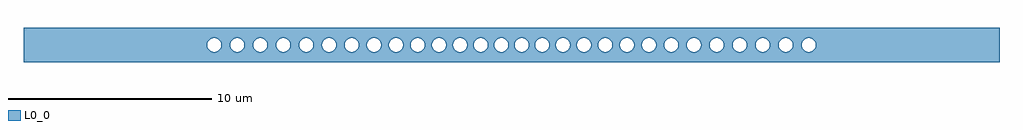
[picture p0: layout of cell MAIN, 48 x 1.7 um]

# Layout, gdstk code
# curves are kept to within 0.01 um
import gdstk
lib = gdstk.Library(unit=1e-6, precision=1e-09)
def P(c, l, *ps):  # polygons
    for p in ps: c.add(gdstk.Polygon(p, *l))
L0_0 = (0, 0)

main = lib.new_cell('MAIN')
P(main, L0_0, [(-14.658,-0.351),(-14.784,-0.313),(-14.883,-0.235),(-14.883,-0.85),(-14.658,-0.85)],
  [(-14.647,0.352),(-14.521,0.34),(-14.416,0.29),(-14.321,0.191),(-14.272,0.068),(-14.272,0.85),(-14.658,0.85),(-14.658,0.351)],
  [(-14.272,-0.068),(-14.321,-0.191),(-14.416,-0.29),(-14.536,-0.344),(-14.658,-0.351),(-14.658,-0.85),(-14.272,-0.85)],
  [(-14.266,-0.011),(-14.272,-0.85),(-13.598,-0.85),(-13.598,-0.336),(-13.688,-0.291),(-13.765,-0.219),(-13.819,-0.122),(-13.84,-0.024),(-13.83,0.087),(-13.777,0.202),(-13.705,0.279),(-13.598,0.336),(-13.598,0.85),(-14.272,0.85)],
  [(-13.587,0.339),(-13.462,0.353),(-13.334,0.319),(-13.235,0.249),(-13.162,0.139),(-13.162,0.85),(-13.598,0.85),(-13.598,0.336)],
  [(-13.162,-0.139),(-13.235,-0.249),(-13.334,-0.319),(-13.462,-0.353),(-13.598,-0.336),(-13.598,-0.85),(-13.162,-0.85)],
  [(-13.133,-0.011),(-13.162,-0.139),(-13.162,-0.85),(-12.533,-0.85),(-12.533,-0.305),(-12.651,-0.193),(-12.692,-0.107),(-12.708,-0.019),(-12.699,0.081),(-12.667,0.166),(-12.608,0.247),(-12.533,0.305),(-12.533,0.85),(-13.162,0.85),(-13.162,0.139)],
  [(-12.524,0.31),(-12.414,0.349),(-12.272,0.344),(-12.16,0.296),(-12.066,0.204),(-12.066,0.85),(-12.533,0.85)],
  [(-12.066,-0.204),(-12.16,-0.296),(-12.272,-0.344),(-12.414,-0.349),(-12.533,-0.305),(-12.533,-0.85),(-12.066,-0.85)],
  [(-12.001,-0.011),(-12.02,-0.115),(-12.066,-0.204),(-12.066,-0.85),(-11.46,-0.85),(-11.46,-0.261),(-11.544,-0.147),(-11.576,-0.013),(-11.544,0.147),(-11.46,0.261),(-11.46,0.85),(-12.066,0.85),(-12.066,0.204),(-12.018,0.109)],
  [(-11.452,0.268),(-11.353,0.329),(-11.218,0.354),(-11.089,0.328),(-10.982,0.26),(-10.982,0.85),(-11.46,0.85)],
  [(-10.982,-0.26),(-11.089,-0.328),(-11.218,-0.354),(-11.353,-0.329),(-11.46,-0.261),(-11.46,-0.85),(-10.982,-0.85)],
  [(-10.869,-0.011),(-10.899,-0.144),(-10.982,-0.26),(-10.982,-0.85),(-10.38,-0.85),(-10.38,-0.206),(-10.423,-0.127),(-10.446,-0.019),(-10.433,0.097),(-10.38,0.206),(-10.38,0.85),(-10.982,0.85),(-10.982,0.26),(-10.891,0.125)],
  [(-10.377,0.21),(-10.28,0.3),(-10.168,0.346),(-10.046,0.351),(-9.912,0.304),(-9.912,0.85),(-10.38,0.85)],
  [(-9.912,-0.304),(-10.046,-0.351),(-10.168,-0.346),(-10.28,-0.3),(-10.38,-0.206),(-10.38,-0.85),(-9.912,-0.85)],
  [(-9.739,-0.011),(-9.75,-0.089),(-9.789,-0.182),(-9.841,-0.249),(-9.912,-0.304),(-9.912,-0.85),(-9.294,-0.85),(-9.294,-0.142),(-9.324,-0.008),(-9.294,0.142),(-9.294,0.85),(-9.912,0.85),(-9.912,0.304),(-9.837,0.245),(-9.781,0.168),(-9.75,0.089)],
  [(-9.292,0.147),(-9.212,0.258),(-9.106,0.327),(-8.971,0.354),(-8.862,0.337),(-8.862,0.85),(-9.294,0.85)],
  [(-8.862,-0.337),(-8.971,-0.354),(-9.106,-0.327),(-9.212,-0.258),(-9.294,-0.142),(-9.294,-0.85),(-8.862,-0.85)],
  [(24,0.85),(14.881,0.85),(14.881,0.237),(14.95,0.125),(14.973,0.011),(14.954,-0.115),(14.881,-0.237),(14.881,-0.85),(24,-0.85)],
  [(-8.204,0.076),(-8.161,0.184),(-8.064,0.288),(-7.934,0.346),(-7.823,0.352),(-7.823,0.85),(-8.205,0.85)],
  [(-7.823,-0.352),(-7.934,-0.346),(-8.064,-0.288),(-8.161,-0.184),(-8.205,-0.071),(-8.205,-0.85),(-7.823,-0.85)],
  [(-8.212,0.003),(-8.205,0.85),(-8.862,0.85),(-8.862,0.337),(-8.767,0.29),(-8.678,0.2),(-8.632,0.104),(-8.617,0)],
  [(-7.114,0.003),(-7.093,0.122),(-7.018,0.243),(-6.916,0.318),(-6.799,0.351),(-6.799,0.85),(-7.505,0.85),(-7.505,-0.003)],
  [(-6.799,-0.351),(-6.916,-0.318),(-7.018,-0.243),(-7.083,-0.147),(-7.114,-0.003),(-7.505,-0.003),(-7.505,-0.85),(-6.799,-0.85)],
  [(-6.789,0.352),(-6.663,0.34),(-6.558,0.29),(-6.463,0.191),(-6.414,0.068),(-6.414,0.85),(-6.799,0.85),(-6.799,0.351)],
  [(-6.414,-0.068),(-6.463,-0.191),(-6.562,-0.293),(-6.678,-0.344),(-6.799,-0.351),(-6.799,-0.85),(-6.414,-0.85)],
  [(-6.407,-0.011),(-6.414,-0.85),(-5.789,-0.85),(-5.789,-0.336),(-5.884,-0.288),(-5.96,-0.215),(-6.009,-0.127),(-6.032,-0.019),(-6.019,0.097),(-5.969,0.202),(-5.884,0.288),(-5.789,0.336),(-5.789,0.85),(-6.414,0.85)],
  [(-5.779,0.339),(-5.653,0.353),(-5.521,0.317),(-5.427,0.249),(-5.354,0.139),(-5.354,0.85),(-5.789,0.85),(-5.789,0.336)],
  [(-5.354,-0.139),(-5.427,-0.249),(-5.545,-0.328),(-5.675,-0.354),(-5.789,-0.336),(-5.789,-0.85),(-5.354,-0.85)],
  [(-5.325,-0.011),(-5.354,-0.139),(-5.354,-0.85),(-4.791,-0.85),(-4.791,-0.305),(-4.855,-0.258),(-4.915,-0.184),(-4.966,-0.024),(-4.956,0.087),(-4.928,0.161),(-4.87,0.243),(-4.791,0.305),(-4.791,0.85),(-5.354,0.85),(-5.354,0.139)],
  [(-4.782,0.31),(-4.672,0.349),(-4.53,0.344),(-4.414,0.293),(-4.327,0.208),(-4.327,0.85),(-4.791,0.85)],
  [(-4.327,-0.208),(-4.414,-0.293),(-4.53,-0.344),(-4.672,-0.349),(-4.791,-0.305),(-4.791,-0.85),(-4.327,-0.85)],
  [(-7.505,0.85),(-7.823,0.85),(-7.823,0.352),(-7.701,0.317),(-7.596,0.237),(-7.524,0.115),(-7.505,0)],
  [(-3.798,0.265),(-3.694,0.329),(-3.56,0.354),(-3.43,0.328),(-3.328,0.263),(-3.328,0.85),(-3.802,0.85)],
  [(-3.328,-0.263),(-3.43,-0.328),(-3.565,-0.354),(-3.694,-0.329),(-3.802,-0.261),(-3.802,-0.85),(-3.328,-0.85)],
  [(-3.917,0.003),(-3.888,0.142),(-3.802,0.261),(-3.802,0.85),(-4.327,0.85),(-4.327,0.208),(-4.278,0.115),(-4.259,0)],
  [(-2.814,0.21),(-2.713,0.303),(-2.605,0.346),(-2.484,0.351),(-2.354,0.307),(-2.354,0.85),(-2.817,0.85)],
  [(-2.354,-0.307),(-2.484,-0.351),(-2.605,-0.346),(-2.713,-0.303),(-2.817,-0.206),(-2.817,-0.85),(-2.354,-0.85)],
  [(-2.883,0.003),(-2.864,0.117),(-2.817,0.206),(-2.817,0.85),(-3.328,0.85),(-3.328,0.263),(-3.245,0.154),(-3.21,0)],
  [(-1.832,0.147),(-1.752,0.258),(-1.646,0.327),(-1.511,0.354),(-1.402,0.337),(-1.402,0.85),(-1.834,0.85)],
  [(-1.402,-0.337),(-1.511,-0.354),(-1.646,-0.327),(-1.752,-0.258),(-1.834,-0.142),(-1.834,-0.85),(-1.402,-0.85)],
  [(-1.863,0.003),(-1.834,0.142),(-1.834,0.85),(-2.354,0.85),(-2.354,0.307),(-2.271,0.241),(-2.221,0.173),(-2.185,0.079),(-2.176,0)],
  [(-0.846,0.076),(-0.803,0.184),(-0.719,0.279),(-0.602,0.339),(-0.465,0.352),(-0.465,0.85),(-0.847,0.85)],
  [(-0.465,-0.352),(-0.602,-0.339),(-0.719,-0.279),(-0.803,-0.184),(-0.847,-0.071),(-0.847,-0.85),(-0.465,-0.85)],
  [(-0.854,0.003),(-0.847,0.85),(-1.402,0.85),(-1.402,0.337),(-1.311,0.293),(-1.227,0.213),(-1.175,0.115),(-1.156,0)],
  [(0.147,0.003),(0.167,0.117),(0.24,0.239),(0.346,0.318),(0.463,0.351),(0.463,0.85),(-0.147,0.85),(-0.147,-0.003)],
  [(0.463,-0.351),(0.346,-0.318),(0.24,-0.239),(0.167,-0.117),(0.147,-0.003),(-0.147,-0.003),(-0.147,-0.85),(0.463,-0.85)],
  [(0.473,0.352),(0.599,0.34),(0.704,0.29),(0.799,0.191),(0.847,0.074),(0.847,0.85),(0.463,0.85),(0.463,0.351)],
  [(0.847,-0.074),(0.799,-0.191),(0.704,-0.29),(0.584,-0.344),(0.463,-0.351),(0.463,-0.85),(0.847,-0.85)],
  [(-0.147,0.85),(-0.465,0.85),(-0.465,0.352),(-0.348,0.319),(-0.242,0.241),(-0.166,0.115),(-0.147,0)],
  [(1.409,0.339),(1.535,0.353),(1.667,0.317),(1.769,0.241),(1.833,0.144),(1.833,0.85),(1.399,0.85),(1.399,0.336)],
  [(1.833,-0.144),(1.75,-0.26),(1.643,-0.328),(1.514,-0.354),(1.399,-0.336),(1.399,-0.85),(1.833,-0.85)],
  [(1.156,0.003),(1.176,0.117),(1.229,0.215),(1.296,0.282),(1.399,0.336),(1.399,0.85),(0.847,0.85),(0.854,0)],
  [(2.361,0.31),(2.471,0.349),(2.613,0.344),(2.733,0.29),(2.816,0.208),(2.816,0.85),(2.352,0.85)],
  [(2.816,-0.208),(2.733,-0.29),(2.613,-0.344),(2.471,-0.349),(2.352,-0.305),(2.352,-0.85),(2.816,-0.85)],
  [(2.176,0.003),(2.188,0.092),(2.225,0.179),(2.288,0.258),(2.352,0.305),(2.352,0.85),(1.833,0.85),(1.833,0.144),(1.863,0)],
  [(3.33,0.265),(3.433,0.329),(3.568,0.354),(3.697,0.328),(3.8,0.263),(3.8,0.85),(3.326,0.85)],
  [(3.8,-0.263),(3.697,-0.328),(3.562,-0.354),(3.433,-0.329),(3.326,-0.261),(3.326,-0.85),(3.8,-0.85)],
  [(3.21,0.003),(3.246,0.156),(3.326,0.261),(3.326,0.85),(2.816,0.85),(2.816,0.208),(2.863,0.12),(2.883,0)],
  [(4.329,0.21),(4.43,0.303),(4.538,0.346),(4.659,0.351),(4.789,0.307),(4.789,0.85),(4.326,0.85)],
  [(4.789,-0.307),(4.659,-0.351),(4.538,-0.346),(4.43,-0.303),(4.326,-0.206),(4.326,-0.85),(4.789,-0.85)],
  [(4.966,-0.011),(4.951,-0.104),(4.911,-0.191),(4.853,-0.26),(4.789,-0.307),(4.789,-0.85),(5.353,-0.85),(5.353,-0.137),(5.325,-0.013),(5.353,0.137),(5.353,0.85),(4.789,0.85),(4.789,0.307),(4.853,0.26),(4.919,0.177),(4.958,0.079)],
  [(5.355,0.142),(5.425,0.247),(5.543,0.327),(5.677,0.354),(5.787,0.337),(5.787,0.85),(5.353,0.85)],
  [(5.787,-0.337),(5.677,-0.354),(5.543,-0.327),(5.425,-0.247),(5.353,-0.137),(5.353,-0.85),(5.787,-0.85)],
  [(6.032,-0.011),(6.008,-0.129),(5.955,-0.221),(5.873,-0.296),(5.787,-0.337),(5.787,-0.85),(6.413,-0.85),(6.413,0.85),(5.787,0.85),(5.787,0.337),(5.873,0.296),(5.961,0.213),(6.015,0.109)],
  [(6.415,0.071),(6.459,0.184),(6.547,0.282),(6.67,0.342),(6.797,0.352),(6.797,0.85),(6.413,0.85)],
  [(6.797,-0.352),(6.67,-0.342),(6.547,-0.282),(6.459,-0.184),(6.413,-0.066),(6.413,-0.85),(6.797,-0.85)],
  [(7.114,0.85),(6.797,0.85),(6.797,0.352),(6.918,0.317),(7.02,0.241),(7.094,0.12),(7.114,0.003)],
  [(7.114,-0.003),(7.094,-0.12),(7.02,-0.241),(6.918,-0.317),(6.797,-0.352),(6.797,-0.85),(7.114,-0.85)],
  [(7.505,0.003),(7.537,0.147),(7.605,0.247),(7.708,0.32),(7.82,0.351),(7.82,0.85),(7.114,0.85),(7.114,-0.003)],
  [(7.82,-0.351),(7.708,-0.32),(7.605,-0.247),(7.537,-0.147),(7.505,-0.003),(7.114,-0.003),(7.114,-0.85),(7.82,-0.85)],
  [(7.831,0.352),(7.967,0.337),(8.083,0.274),(8.162,0.182),(8.204,0.074),(8.204,0.85),(7.82,0.85),(7.82,0.351)],
  [(8.204,-0.074),(8.15,-0.2),(8.053,-0.296),(7.941,-0.344),(7.82,-0.351),(7.82,-0.85),(8.204,-0.85)],
  [(4.259,0.003),(4.274,0.102),(4.326,0.206),(4.326,0.85),(3.8,0.85),(3.8,0.263),(3.889,0.139),(3.917,0)],
  [(8.869,0.339),(8.995,0.353),(9.123,0.319),(9.222,0.249),(9.293,0.144),(9.293,0.85),(8.859,0.85),(8.859,0.336)],
  [(9.293,-0.144),(9.222,-0.249),(9.103,-0.328),(8.974,-0.354),(8.859,-0.336),(8.859,-0.85),(9.293,-0.85)],
  [(8.617,0.003),(8.638,0.122),(8.689,0.215),(8.752,0.279),(8.859,0.336),(8.859,0.85),(8.204,0.85),(8.212,0)],
  [(9.924,0.31),(10.033,0.349),(10.175,0.344),(10.287,0.296),(10.378,0.208),(10.378,0.85),(9.914,0.85),(9.914,0.305)],
  [(10.378,-0.208),(10.287,-0.296),(10.175,-0.344),(10.033,-0.349),(9.914,-0.305),(9.914,-0.85),(10.378,-0.85)],
  [(10.446,-0.011),(10.427,-0.115),(10.378,-0.208),(10.378,-0.85),(10.98,-0.85),(10.98,-0.258),(10.898,-0.142),(10.869,-0.019),(10.898,0.142),(10.98,0.258),(10.98,0.85),(10.378,0.85),(10.378,0.208),(10.429,0.109)],
  [(10.984,0.261),(11.092,0.329),(11.221,0.354),(11.355,0.328),(11.458,0.263),(11.458,0.85),(10.98,0.85)],
  [(11.458,-0.263),(11.355,-0.328),(11.221,-0.354),(11.092,-0.329),(10.98,-0.258),(10.98,-0.85),(11.458,-0.85)],
  [(11.576,-0.011),(11.541,-0.154),(11.458,-0.263),(11.458,-0.85),(12.064,-0.85),(12.064,-0.202),(12.019,-0.112),(12.001,-0.019),(12.013,0.092),(12.064,0.202),(12.064,0.85),(11.458,0.85),(11.458,0.263),(11.541,0.154)],
  [(12.067,0.206),(12.167,0.3),(12.28,0.346),(12.401,0.351),(12.531,0.307),(12.531,0.85),(12.064,0.85)],
  [(12.531,-0.307),(12.401,-0.351),(12.28,-0.346),(12.167,-0.3),(12.064,-0.202),(12.064,-0.85),(12.531,-0.85)],
  [(12.708,-0.011),(12.697,-0.089),(12.661,-0.177),(12.61,-0.245),(12.531,-0.307),(12.531,-0.85),(13.161,-0.85),(13.161,-0.137),(13.133,-0.008),(13.161,0.137),(13.161,0.85),(12.531,0.85),(12.531,0.307),(12.595,0.26),(12.661,0.177),(12.697,0.089)],
  [(13.163,0.142),(13.245,0.258),(13.351,0.327),(13.486,0.354),(13.595,0.337),(13.595,0.85),(13.161,0.85)],
  [(13.595,-0.337),(13.486,-0.354),(13.351,-0.327),(13.245,-0.258),(13.161,-0.137),(13.161,-0.85),(13.595,-0.85)],
  [(13.84,-0.011),(13.82,-0.12),(13.773,-0.208),(13.69,-0.29),(13.595,-0.337),(13.595,-0.85),(14.272,-0.85),(14.272,0.85),(13.595,0.85),(13.595,0.337),(13.69,0.29),(13.779,0.2),(13.828,0.094)],
  [(14.273,0.071),(14.317,0.184),(14.401,0.279),(14.508,0.336),(14.655,0.352),(14.655,0.85),(14.272,0.85)],
  [(14.655,-0.352),(14.508,-0.336),(14.401,-0.279),(14.317,-0.184),(14.272,-0.066),(14.272,-0.85),(14.655,-0.85)],
  [(-14.883,-0.235),(-14.953,-0.117),(-14.973,-0.008),(-14.953,0.117),(-14.883,0.235),(-14.883,0.85),(-24,0.85),(-24,-0.85),(-14.883,-0.85)],
  [(-14.88,0.239),(-14.784,0.313),(-14.658,0.351),(-14.658,0.85),(-14.883,0.85)],
  [(14.881,0.85),(14.655,0.85),(14.655,0.352),(14.786,0.312),(14.881,0.237)],
  [(14.881,-0.237),(14.786,-0.312),(14.655,-0.352),(14.655,-0.85),(14.881,-0.85)],
  [(-8.205,-0.071),(-8.212,0),(-8.617,0),(-8.632,-0.104),(-8.678,-0.2),(-8.767,-0.29),(-8.862,-0.337),(-8.862,-0.85),(-8.205,-0.85)],
  [(-7.505,0),(-7.524,-0.115),(-7.596,-0.237),(-7.701,-0.317),(-7.823,-0.352),(-7.823,-0.85),(-7.505,-0.85)],
  [(-3.802,-0.261),(-3.888,-0.142),(-3.917,0),(-4.259,0),(-4.278,-0.115),(-4.327,-0.208),(-4.327,-0.85),(-3.802,-0.85)],
  [(-2.817,-0.206),(-2.864,-0.117),(-2.883,0),(-3.21,0),(-3.245,-0.154),(-3.328,-0.263),(-3.328,-0.85),(-2.817,-0.85)],
  [(-1.834,-0.142),(-1.863,0),(-2.176,0),(-2.185,-0.079),(-2.221,-0.173),(-2.271,-0.241),(-2.354,-0.307),(-2.354,-0.85),(-1.834,-0.85)],
  [(-0.847,-0.071),(-0.854,0),(-1.156,0),(-1.175,-0.115),(-1.227,-0.213),(-1.311,-0.293),(-1.402,-0.337),(-1.402,-0.85),(-0.847,-0.85)],
  [(-0.147,0),(-0.166,-0.115),(-0.242,-0.241),(-0.348,-0.319),(-0.465,-0.352),(-0.465,-0.85),(-0.147,-0.85)],
  [(1.399,-0.336),(1.296,-0.282),(1.229,-0.215),(1.176,-0.117),(1.156,0),(0.854,0),(0.847,-0.85),(1.399,-0.85)],
  [(2.352,-0.305),(2.288,-0.258),(2.225,-0.179),(2.188,-0.092),(2.176,0),(1.863,0),(1.833,-0.144),(1.833,-0.85),(2.352,-0.85)],
  [(3.326,-0.261),(3.246,-0.156),(3.21,0),(2.883,0),(2.863,-0.12),(2.816,-0.208),(2.816,-0.85),(3.326,-0.85)],
  [(4.326,-0.206),(4.274,-0.102),(4.259,0),(3.917,0),(3.889,-0.139),(3.8,-0.263),(3.8,-0.85),(4.326,-0.85)],
  [(8.859,-0.336),(8.752,-0.279),(8.689,-0.215),(8.638,-0.122),(8.617,0),(8.212,0),(8.204,-0.85),(8.859,-0.85)],
  [(9.914,-0.305),(9.839,-0.247),(9.785,-0.175),(9.751,-0.092),(9.739,0),(9.324,0),(9.293,-0.144),(9.293,-0.85),(9.914,-0.85)],
  [(9.739,0.003),(9.751,0.092),(9.785,0.175),(9.839,0.247),(9.914,0.305),(9.914,0.85),(9.293,0.85),(9.293,0.144),(9.324,0)])

lib.write_gds('MAIN.gds')
